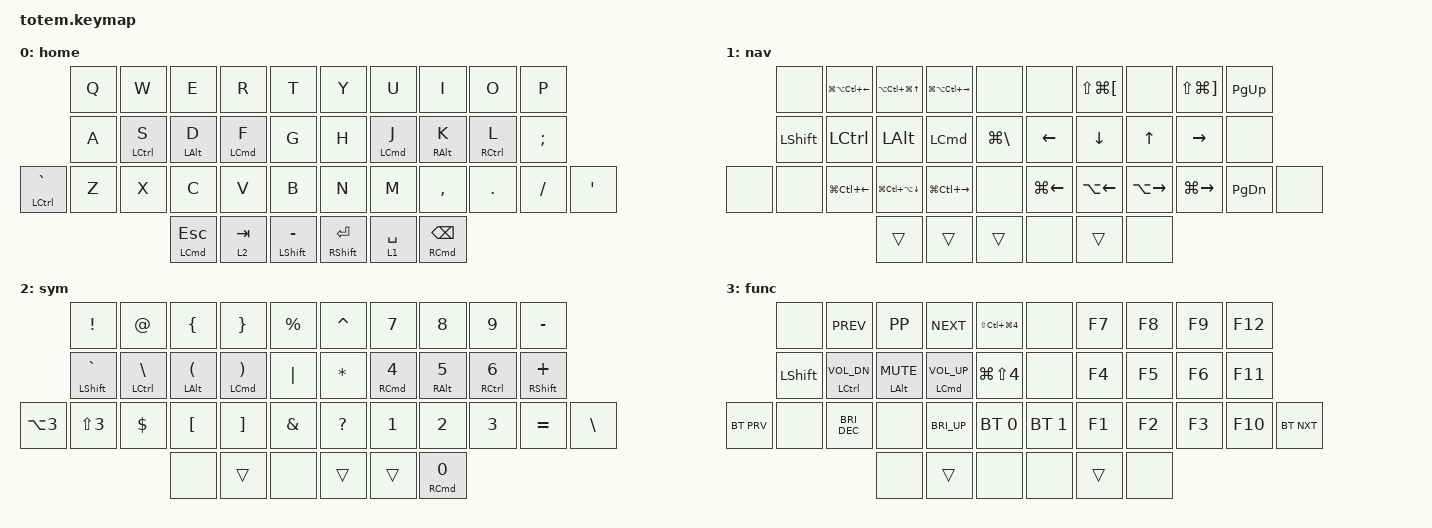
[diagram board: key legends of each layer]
#include <behaviors.dtsi>
#include <dt-bindings/zmk/bt.h>
#include <dt-bindings/zmk/keys.h>

&mt {
    quick-tap-ms = <190>;
    tapping-term-ms = <200>;
};

/ {
    combos {
        compatible = "zmk,combos";

        copy {
            bindings = <&kp LG(C)>;
            key-positions = <22 23>;
            require-prior-idle-ms = <200>;
            timeout-ms = <50>;
        };

        paste {
            bindings = <&kp LG(V)>;
            key-positions = <23 24>;
            timeout-ms = <50>;
            require-prior-idle-ms = <200>;
        };

        cut {
            bindings = <&kp LG(X)>;
            key-positions = <21 22>;
            timeout-ms = <50>;
            require-prior-idle-ms = <200>;
        };

        undo {
            bindings = <&kp LG(Z)>;
            key-positions = <3 4>;
            timeout-ms = <50>;
            require-prior-idle-ms = <200>;
        };

        redo {
            bindings = <&kp LG(LS(Z))>;
            key-positions = <4 3 2>;
            timeout-ms = <50>;
            require-prior-idle-ms = <200>;
        };

        paste-no-format {
            bindings = <&kp LG(LA(LS(V)))>;
            key-positions = <24 23 22>;
            timeout-ms = <50>;
            require-prior-idle-ms = <200>;
        };

        exclaim {
            bindings = <&kp EXCLAMATION>;
            key-positions = <14 13>;
            timeout-ms = <50>;
            require-prior-idle-ms = <200>;
        };

        question {
            bindings = <&kp QUESTION>;
            key-positions = <15 16>;
            timeout-ms = <50>;
            require-prior-idle-ms = <200>;
        };

        forwardslash {
            bindings = <&kp SLASH>;
            key-positions = <24 25>;
            timeout-ms = <50>;
            require-prior-idle-ms = <200>;
        };

        backslash {
            bindings = <&kp BACKSLASH>;
            key-positions = <26 27>;
            timeout-ms = <50>;
            require-prior-idle-ms = <200>;
        };

        backspace {
            bindings = <&kp BACKSPACE>;
            key-positions = <5 6>;
            timeout-ms = <50>;
            require-prior-idle-ms = <200>;
        };

        bt-clr-all {
            bindings = <&bt BT_CLR_ALL>;
            key-positions = <5 4>;
            layers = <3>;
            timeout-ms = <50>;
            require-prior-idle-ms = <400>;
        };

        bt-clr {
            bindings = <&bt BT_CLR>;
            key-positions = <14 15>;
            timeout-ms = <50>;
            require-prior-idle-ms = <400>;
            layers = <3>;
        };

        find-all {
            bindings = <&kp LS(LG(F))>;
            key-positions = <14 11>;
            timeout-ms = <50>;
            require-prior-idle-ms = <200>;
        };

        ide-quick-find {
            bindings = <&kp LG(P)>;
            key-positions = <1 3>;
            timeout-ms = <50>;
            require-prior-idle-ms = <200>;
        };

        ide-quick-run {
            bindings = <&kp LG(LS(P))>;
            key-positions = <1 4>;
            timeout-ms = <50>;
            require-prior-idle-ms = <200>;
        };
    };

    behaviors {
        hold_tap_left: hold_tap_left {
            compatible = "zmk,behavior-hold-tap";
            label = "HOLD_TAP_LEFT";
            bindings = <&kp>, <&kp>;

            #binding-cells = <2>;
            tapping-term-ms = <280>;
            quick-tap-ms = <175>;
            require-prior-idle-ms = <150>;
            flavor = "balanced";
            hold-trigger-on-release;
            hold-trigger-key-positions = <5 6 7 8 9 15 16 17 18 19 26 27 28 29 30 31 35 36 37 22 23 24>;
        };

        hold_tap_right: hold_tap_right {
            compatible = "zmk,behavior-hold-tap";
            label = "HOLD_TAP_RIGHT";
            bindings = <&kp>, <&kp>;

            #binding-cells = <2>;
            tapping-term-ms = <280>;
            quick-tap-ms = <175>;
            require-prior-idle-ms = <150>;
            flavor = "balanced";
            hold-trigger-on-release;
            hold-trigger-key-positions = <0 1 2 3 4 10 11 12 13 14 20 21 22 23 24 25 32 33 34>;
        };

        hold_pref_tap: hold_pref_tap {
            compatible = "zmk,behavior-hold-tap";
            label = "HOLD_PREF_TAP";
            bindings = <&kp>, <&kp>;

            #binding-cells = <2>;
            tapping-term-ms = <280>;
            quick-tap-ms = <175>;
            require-prior-idle-ms = <0>;
        };
    };

    keymap {
        compatible = "zmk,keymap";

        home {
            bindings = <
                 &kp Q  &kp W                   &kp E                            &kp R                  &kp T                   &kp Y                   &kp U                   &kp I                        &kp O                    &kp P
                 &kp A  &hold_tap_left LCTRL S  &hold_tap_left LEFT_ALT D        &hold_tap_left LCMD F  &kp G                   &kp H                   &hold_tap_right LCMD J  &hold_tap_right RIGHT_ALT K  &hold_tap_right RCTRL L  &kp SEMICOLON
&mt LCTRL GRAVE  &kp Z  &kp X                   &kp C                            &kp V                  &kp B                   &kp N                   &kp M                   &kp COMMA                    &kp DOT                  &kp FSLH       &kp SQT
                                                &hold_pref_tap LEFT_COMMAND ESC  &lt 2 TAB              &mt LEFT_SHIFT MINUS    &mt RIGHT_SHIFT RETURN  &lt 1 SPACE             &mt RCMD BACKSPACE
            >;
        };

        nav {
            bindings = <
       &none           &kp LG(LA(LC(LEFT)))  &kp LA(LC(LG(UP_ARROW)))  &kp LG(LA(LC(RIGHT)))  &none                &none         &kp LS(LG(LEFT_BRACKET))  &none          &kp LS(LG(RIGHT_BRACKET))  &kp PAGE_UP
       &kp LEFT_SHIFT  &kp LCTRL             &kp LEFT_ALT              &kp LCMD               &kp LG(BACKSLASH)    &kp LEFT      &kp DOWN                  &kp UP_ARROW   &kp RIGHT                  &none
&none  &none           &kp LG(LC(LEFT))      &kp LG(LC(LA(DOWN)))      &kp LG(LC(RIGHT))      &none                &kp LG(LEFT)  &kp LA(LEFT)              &kp LA(RIGHT)  &kp LG(RIGHT)              &kp PAGE_DOWN  &none
                                             &trans                    &trans                 &trans               &none         &trans                    &none
            >;
        };

        sym {
            bindings = <
            &kp EXCLAMATION             &kp AT_SIGN                     &kp LBRC                                  &kp RBRC                               &kp PERCENT    &kp CARET     &kp N7                   &kp N8                        &kp N9                    &kp MINUS
            &hold_tap_left LSHFT GRAVE  &hold_tap_left LCTRL BACKSLASH  &hold_tap_left LEFT_ALT LEFT_PARENTHESIS  &hold_tap_left LCMD RIGHT_PARENTHESIS  &kp PIPE       &kp ASTERISK  &hold_tap_right RCMD N4  &hold_tap_right RIGHT_ALT N5  &hold_tap_right RCTRL N6  &hold_tap_right RIGHT_SHIFT PLUS
&kp LA(N3)  &kp LS(NUMBER_3)            &kp DOLLAR                      &kp LBKT                                  &kp RBKT                               &kp AMPS       &kp QUESTION  &kp N1                   &kp N2                        &kp N3                    &kp EQUAL                         &kp BACKSLASH
                                                                        &none                                     &trans                                 &none          &trans        &trans                   &mt RCMD N0
            >;
        };

        func {
            bindings = <
            &none           &kp K_PREV          &kp K_PP             &kp K_NEXT         &kp LS(LC(LG(N4)))    &none         &kp F7  &kp F8  &kp F9  &kp F12
            &kp LEFT_SHIFT  &mt LCTRL C_VOL_DN  &mt LEFT_ALT K_MUTE  &mt LCMD C_VOL_UP  &kp LG(LS(N4))        &none         &kp F4  &kp F5  &kp F6  &kp F11
&bt BT_PRV  &none           &kp C_BRI_DEC       &none                &kp C_BRI_UP       &bt BT_SEL 0          &bt BT_SEL 1  &kp F1  &kp F2  &kp F3  &kp F10  &bt BT_NXT
                                                &none                &trans             &none                 &none         &trans  &none
            >;
        };
    };

    conditional_layers {
        compatible = "zmk,conditional-layers";

        Func {
            if-layers = <1 2>;
            then-layer = <3>;
        };
    };
};
